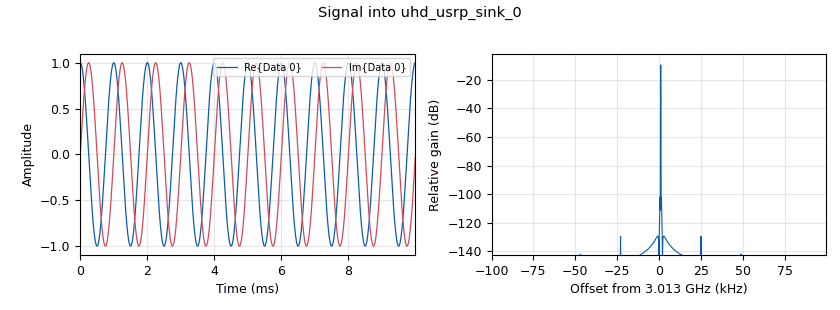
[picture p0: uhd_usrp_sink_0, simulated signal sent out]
<?xml version='1.0' encoding='utf-8'?>
<?grc format='1' created='3.7.12'?>
<flow_graph>
<block>
<key>options</key>
<param><key>id</key><value>tone_rpi</value></param>
<param><key>generate_options</key><value>no_gui</value></param>
<param><key>realtime_scheduling</key><value>1</value></param>
<param><key>run_options</key><value>run</value></param>
</block>
<block>
<key>variable</key>
<param><key>id</key><value>lo_offset</value></param>
<param><key>value</key><value>3e6</value></param>
</block>
<block>
<key>variable</key>
<param><key>id</key><value>samp_rate</value></param>
<param><key>value</key><value>200e3</value></param>
</block>
<block>
<key>analog_sig_source_x</key>
<param><key>id</key><value>analog_sig_source_x_0</value></param>
<param><key>amp</key><value>1</value></param>
<param><key>freq</key><value>1000</value></param>
<param><key>offset</key><value>0</value></param>
<param><key>type</key><value>complex</value></param>
<param><key>samp_rate</key><value>samp_rate</value></param>
<param><key>waveform</key><value>analog.GR_COS_WAVE</value></param>
</block>
<block>
<key>parameter</key>
<param><key>id</key><value>cf</value></param>
<param><key>label</key><value>cf</value></param>
<param><key>value</key><value>3.013e9</value></param>
</block>
<block>
<key>parameter</key>
<param><key>id</key><value>gain</value></param>
<param><key>label</key><value>gain</value></param>
<param><key>value</key><value>70</value></param>
</block>
<block>
<key>uhd_usrp_sink</key>
<param><key>id</key><value>uhd_usrp_sink_0</value></param>
<param><key>ant0</key><value>TX/RX</value></param>
<param><key>center_freq0</key><value>cf</value></param>
<param><key>norm_gain0</key><value>False</value></param>
<param><key>gain0</key><value>gain</value></param>
<param><key>clock_rate</key><value>0.0</value></param>
<param><key>dev_args</key><value>""</value></param>
<param><key>type</key><value>fc32</value></param>
<param><key>samp_rate</key><value>samp_rate</value></param>
<param><key>hide_cmd_port</key><value>False</value></param>
<param><key>hide_lo_controls</key><value>True</value></param>
<param><key>sync</key><value></value></param>
<param><key>len_tag_name</key><value></value></param>
</block>
<connection><source_block_id>analog_sig_source_x_0</source_block_id><sink_block_id>uhd_usrp_sink_0</sink_block_id><source_key>0</source_key><sink_key>0</sink_key></connection>
</flow_graph>
